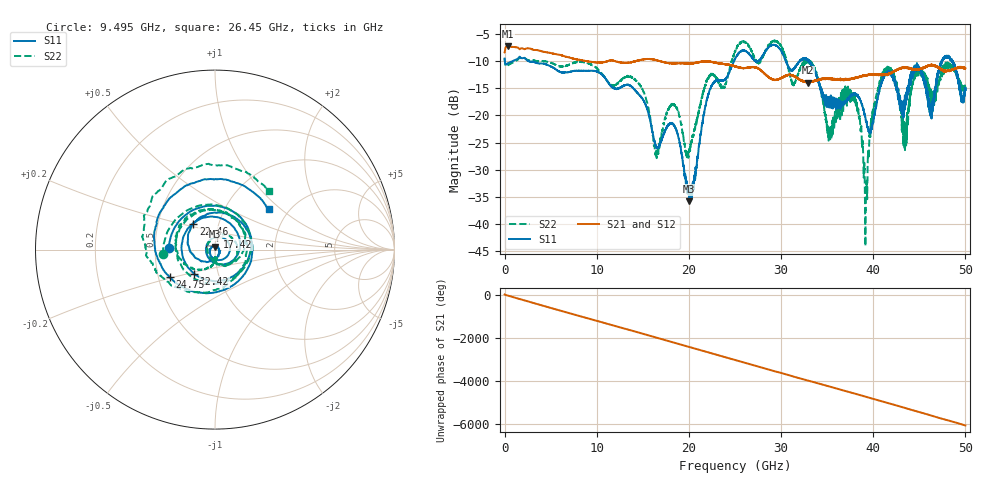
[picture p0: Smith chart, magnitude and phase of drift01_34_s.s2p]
!Created with skrf (http://scikit-rf.org).
# Hz S RI R 50.0
!freq ReS11 ImS11 ReS21 ImS21 ReS12 ImS12 ReS22 ImS22
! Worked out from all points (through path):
!   10001 points, 300 kHz to 50 GHz, reference 50 ohm
!   highest |S21| = -7.33 dB at 325.3 MHz (marker M1); lowest = -14.0 dB at 32.87 GHz (marker M2)
!   group delay of S21, straight-line fit = 335 ps
!   lowest |S11| = -35.8 dB at 20.01 GHz (marker M3), VSWR 1.03, Z = 49.9 + j1.61 ohm
!   |S11| at or under -10 dB: 2.556 GHz to 24.9 GHz (22.35 GHz wide, 163 % of centre); 30.51 GHz to 32.02 GHz (1.506 GHz wide, 4.82 % of centre); 33.06 GHz to 47.42 GHz (14.36 GHz wide, 35.7 % of centre) (the widest 3 of 19)
!   |S22| runs from -44.0 to -6.2 dB; largest |S21 - S12| = 0.0087
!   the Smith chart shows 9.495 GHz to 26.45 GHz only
!   S11 on the Smith chart (normalised r, x): 9.495 GHz: 0.59, +0.01; 12.42 GHz: 0.77, -0.21; 17.42 GHz: 1.02, +0.15; 22.46 GHz: 0.75, +0.22; 24.75 GHz: 0.57, -0.19; 26.45 GHz: 1.60, +0.82
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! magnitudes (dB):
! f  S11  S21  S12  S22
! 300 kHz  -9.6  -8.4  -8.5  -9.5
! 325.3 MHz  -10.5  -7.3  -7.3  -10.9
! 8.335 GHz  -11.8  -9.9  -9.9  -10.2
! 9.495 GHz  -11.8  -10.2  -10.2  -10.8
! 12.42 GHz  -15.0  -10.2  -10.3  -14.0
! 16.67 GHz  -26.0  -10.0  -10.0  -27.0
! 17.42 GHz  -22.8  -10.3  -10.3  -20.4
! 20.01 GHz  -35.8  -10.5  -10.5  -26.6
! 22.46 GHz  -14.5  -10.2  -10.2  -12.7
! 24.75 GHz  -10.6  -10.8  -10.9  -9.4
! 25 GHz  -9.6  -11.0  -11.0  -8.3
! 26.45 GHz  -8.6  -11.2  -11.2  -7.1
! 32.87 GHz  -9.7  -14.0  -13.9  -9.8
! 33.34 GHz  -10.8  -13.8  -13.8  -10.6
! 35.25 GHz  -17.8  -13.2  -13.3  -23.1
! 37.98 GHz  -16.0  -13.1  -13.1  -17.2
! 39.17 GHz  -20.7  -12.7  -12.6  -40.5
! 40.16 GHz  -19.8  -12.5  -12.5  -17.8
! 41.67 GHz  -12.1  -12.3  -12.3  -11.6
! 43.39 GHz  -17.6  -11.3  -11.2  -22.2
! 44.88 GHz  -11.1  -11.5  -11.6  -11.8
! 50 GHz  -15.3  -11.4  -11.4  -15.1
